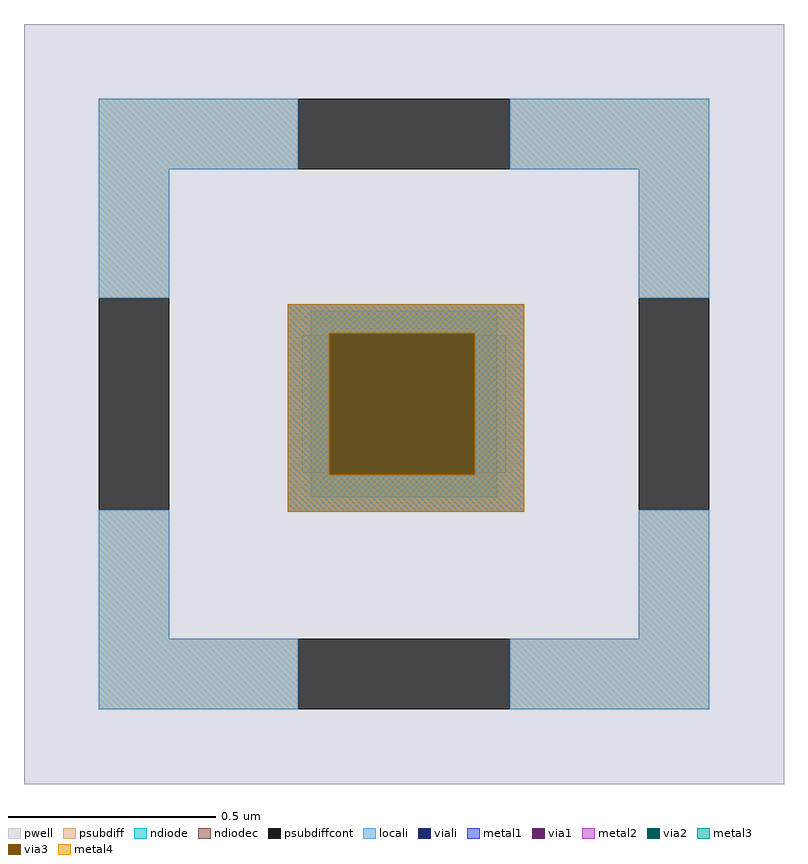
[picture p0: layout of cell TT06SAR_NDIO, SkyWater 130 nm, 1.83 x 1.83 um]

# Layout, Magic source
magic
tech sky130A
magscale 1 2
<< pwell >>
rect -183 -183 183 183
<< psubdiff >>
rect -147 113 -51 147
rect 51 113 147 147
rect -147 51 -113 113
rect 113 51 147 113
rect -147 -113 -113 -51
rect 113 -113 147 -51
rect -147 -147 -51 -113
rect 51 -147 147 -113
<< psubdiffcont >>
rect -51 113 51 147
rect -147 -51 -113 51
rect 113 -51 147 51
rect -51 -147 51 -113
<< ndiode >>
rect -45 33 45 45
rect -45 -33 -33 33
rect 33 -33 45 33
rect -45 -45 45 -33
<< ndiodec >>
rect -33 -33 33 33
<< locali >>
rect -147 113 -51 147
rect 51 113 147 147
rect -147 51 -113 113
rect 113 51 147 113
rect -49 -33 -33 33
rect 33 -33 49 33
rect -147 -113 -113 -51
rect 113 -113 147 -51
rect -147 -147 -51 -113
rect 51 -147 147 -113
<< viali >>
rect -33 -33 33 33
<< metal1 >>
rect -56 34 58 48
rect -56 -34 -36 34
rect 34 -34 58 34
rect -56 -52 58 -34
<< via1 >>
rect -36 33 34 34
rect -36 -33 -33 33
rect -33 -33 33 33
rect 33 -33 34 33
rect -36 -34 34 -33
<< metal2 >>
rect -56 34 58 48
rect -56 -34 -36 34
rect 34 -34 58 34
rect -56 -52 58 -34
<< via2 >>
rect -36 -34 34 34
<< metal3 >>
rect -56 34 58 48
rect -56 -34 -36 34
rect 34 -34 58 34
rect -56 -52 58 -34
<< via3 >>
rect -36 -34 34 34
<< metal4 >>
rect -56 34 58 48
rect -56 -34 -36 34
rect 34 -34 58 34
rect -56 -52 58 -34
<< properties >>
string FIXED_BBOX -130 -130 130 130
string library sky130
string parameters w 0.45 l 0.45 area 202.5m peri 1.8 nx 1 ny 1 dummy 0 lmin 0.45 wmin 0.45 elc 1 erc 1 etc 1 ebc 1 doverlap 0 compatible {sky130_fd_pr__diode_pw2nd_05v5 sky130_fd_pr__diode_pw2nd_05v5_lvt  sky130_fd_pr__diode_pw2nd_05v5_nvt sky130_fd_pr__diode_pw2nd_11v0} full_metal 1 vias 1 viagb 0 viagt 0 viagl 0 viagr 0
<< end >>
